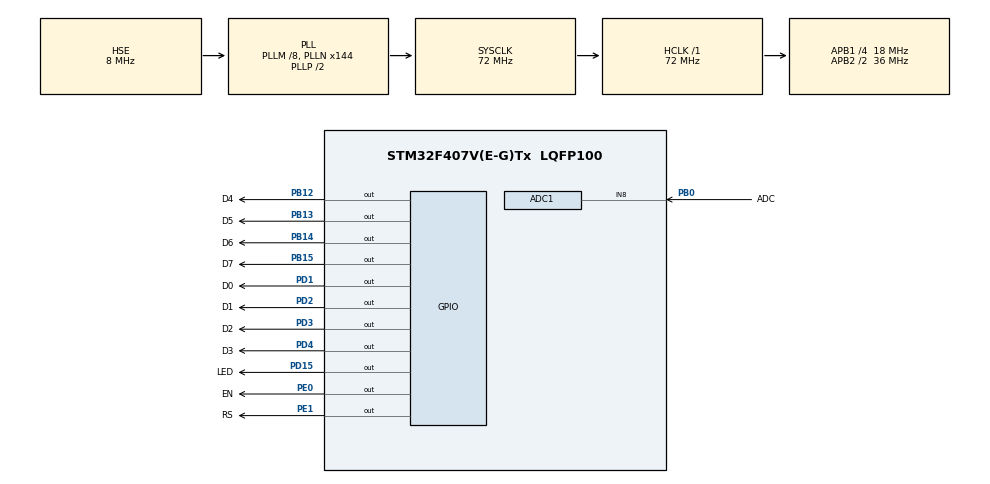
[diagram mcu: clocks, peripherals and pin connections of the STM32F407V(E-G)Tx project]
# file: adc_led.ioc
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ADC1.Channel-1\#ChannelRegularConversion=ADC_CHANNEL_8
ADC1.ContinuousConvMode=ENABLE
ADC1.NbrOfConversionFlag=1
ADC1.Rank-1\#ChannelRegularConversion=1
ADC1.SamplingTime-1\#ChannelRegularConversion=ADC_SAMPLETIME_3CYCLES
ADC1.master=1
Mcu.Family=STM32F4
Mcu.Name=STM32F407V(E-G)Tx
Mcu.Package=LQFP100
NVIC.PriorityGroup=NVIC_PRIORITYGROUP_4
PA0-WKUP.Signal=S_TIM2_CH1_ETR
PA13.Mode=Serial_Wire
PA13.Signal=SYS_JTMS-SWDIO
PA14.Mode=Serial_Wire
PA14.Signal=SYS_JTCK-SWCLK
PB0.GPIO_Label=ADC
PB0.Signal=ADCx_IN8
PB12.GPIO_Label=D4
PB12.Signal=GPIO_Output
PB13.GPIO_Label=D5
PB13.Signal=GPIO_Output
PB14.GPIO_Label=D6
PB14.Signal=GPIO_Output
PB15.GPIO_Label=D7
PB15.Signal=GPIO_Output
PD1.GPIO_Label=D0
PD1.Signal=GPIO_Output
PD15.GPIO_Label=LED
PD15.Signal=GPIO_Output
PD2.GPIO_Label=D1
PD2.Signal=GPIO_Output
PD3.GPIO_Label=D2
PD3.Signal=GPIO_Output
PD4.GPIO_Label=D3
PD4.Signal=GPIO_Output
PE0.GPIO_Label=EN
PE0.Signal=GPIO_Output
PE1.GPIO_Label=RS
PE1.Signal=GPIO_Output
PH0-OSC_IN.Mode=HSE-External-Oscillator
PH0-OSC_IN.Signal=RCC_OSC_IN
PH1-OSC_OUT.Mode=HSE-External-Oscillator
PH1-OSC_OUT.Signal=RCC_OSC_OUT
ProjectManager.HeapSize=0x200
ProjectManager.StackSize=0x400
ProjectManager.TargetToolchain=MDK-ARM V5.27
RCC.48MHZClocksFreq_Value=36000000
RCC.AHBFreq_Value=72000000
RCC.APB1CLKDivider=RCC_HCLK_DIV4
RCC.APB1Freq_Value=18000000
RCC.APB1TimFreq_Value=36000000
RCC.APB2CLKDivider=RCC_HCLK_DIV2
RCC.APB2Freq_Value=36000000
RCC.APB2TimFreq_Value=72000000
RCC.CortexFreq_Value=72000000
RCC.HCLKFreq_Value=72000000
RCC.HSE_VALUE=8000000
RCC.HSI_VALUE=16000000
RCC.LSE_VALUE=32768
RCC.PLLM=8
RCC.PLLN=144
RCC.PLLSourceVirtual=RCC_PLLSOURCE_HSE
RCC.SYSCLKFreq_VALUE=72000000
RCC.SYSCLKSource=RCC_SYSCLKSOURCE_PLLCLK
RCC.VCOOutputFreq_Value=144000000
SH.ADCx_IN8.0=ADC1_IN8,IN8
SH.S_TIM2_CH1_ETR.0=TIM2_CH1
board=custom

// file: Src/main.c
/* USER CODE BEGIN Header */
/**
  ******************************************************************************
  * @file           : main.c
  * @brief          : Main program body
  ******************************************************************************
  * @attention
  *
  * <h2><center>&copy; Copyright (c) 2020 STMicroelectronics.
  * All rights reserved.</center></h2>
  *
  * This software component is licensed by ST under BSD 3-Clause license,
  * the "License"; You may not use this file except in compliance with the
  * License. You may obtain a copy of the License at:
  *                        opensource.org/licenses/BSD-3-Clause
  *
  ******************************************************************************
  */
/* USER CODE END Header */

#include "main.h"

/* USER CODE BEGIN Includes */
#include "STM_MY_LCD16X2.h"
#include "inttypes.h"
#include "stdio.h"
/* USER CODE END Includes */

/* USER CODE BEGIN PD */
uint32_t data= 0;
char yaz[16]=" ";
/* USER CODE END PD */

ADC_HandleTypeDef hadc1;

void SystemClock_Config(void);
static void MX_GPIO_Init(void);
static void MX_ADC1_Init(void);

int main(void)
{

  /* MCU Configuration--------------------------------------------------------*/

  /* Reset of all peripherals, Initializes the Flash interface and the Systick. */
  HAL_Init();

  /* Configure the system clock */
  SystemClock_Config();

  /* Initialize all configured peripherals */
  MX_GPIO_Init();
  MX_ADC1_Init();
  /* USER CODE BEGIN 2 */
	LCD1602_Begin8BIT(RS_GPIO_Port, RS_Pin, EN_Pin, D0_GPIO_Port, D0_Pin, D1_Pin, D2_Pin, D3_Pin, D4_GPIO_Port, D4_Pin , D5_Pin, D6_Pin, D7_Pin);

	LCD1602_1stLine();
	LCD1602_print("ADC_LED");

	//HAL_ADC_Start(&hadc1);

  /* USER CODE END 2 */

  /* Infinite loop */
  while (1)
  {

    /* USER CODE BEGIN 3 */
		HAL_GPIO_WritePin(GPIOD, LED_Pin, GPIO_PIN_SET);
		HAL_Delay(200);

		HAL_ADC_Start(&hadc1);

		data=HAL_ADC_GetValue(&hadc1);
	  sprintf(yaz,"Val: %u ",data);

		LCD1602_2ndLine();
		LCD1602_print(yaz);
		HAL_GPIO_WritePin(GPIOD, LED_Pin, GPIO_PIN_RESET); //test
		HAL_Delay(200);

  }
  /* USER CODE END 3 */
}

void SystemClock_Config(void)
{
  RCC_OscInitTypeDef RCC_OscInitStruct = {0};
  RCC_ClkInitTypeDef RCC_ClkInitStruct = {0};

  /** Configure the main internal regulator output voltage
  */
  __HAL_RCC_PWR_CLK_ENABLE();
  __HAL_PWR_VOLTAGESCALING_CONFIG(PWR_REGULATOR_VOLTAGE_SCALE1);
  /** Initializes the CPU, AHB and APB busses clocks
  */
  RCC_OscInitStruct.OscillatorType = RCC_OSCILLATORTYPE_HSE;
  RCC_OscInitStruct.HSEState = RCC_HSE_ON;
  RCC_OscInitStruct.PLL.PLLState = RCC_PLL_ON;
  RCC_OscInitStruct.PLL.PLLSource = RCC_PLLSOURCE_HSE;
  RCC_OscInitStruct.PLL.PLLM = 8;
  RCC_OscInitStruct.PLL.PLLN = 144;
  RCC_OscInitStruct.PLL.PLLP = RCC_PLLP_DIV2;
  RCC_OscInitStruct.PLL.PLLQ = 4;
  if (HAL_RCC_OscConfig(&RCC_OscInitStruct) != HAL_OK)
  {
    Error_Handler();
  }
  /** Initializes the CPU, AHB and APB busses clocks
  */
  RCC_ClkInitStruct.ClockType = RCC_CLOCKTYPE_HCLK|RCC_CLOCKTYPE_SYSCLK
                              |RCC_CLOCKTYPE_PCLK1|RCC_CLOCKTYPE_PCLK2;
  RCC_ClkInitStruct.SYSCLKSource = RCC_SYSCLKSOURCE_PLLCLK;
  RCC_ClkInitStruct.AHBCLKDivider = RCC_SYSCLK_DIV1;
  RCC_ClkInitStruct.APB1CLKDivider = RCC_HCLK_DIV4;
  RCC_ClkInitStruct.APB2CLKDivider = RCC_HCLK_DIV2;

  if (HAL_RCC_ClockConfig(&RCC_ClkInitStruct, FLASH_LATENCY_2) != HAL_OK)
  {
    Error_Handler();
  }
}

static void MX_ADC1_Init(void)
{

  ADC_ChannelConfTypeDef sConfig = {0};

  /** Configure the global features of the ADC (Clock, Resolution, Data Alignment and number of conversion)
  */
  hadc1.Instance = ADC1;
  hadc1.Init.ClockPrescaler = ADC_CLOCK_SYNC_PCLK_DIV2;
  hadc1.Init.Resolution = ADC_RESOLUTION_12B;
  hadc1.Init.ScanConvMode = DISABLE;
  hadc1.Init.ContinuousConvMode = ENABLE;
  hadc1.Init.DiscontinuousConvMode = DISABLE;
  hadc1.Init.ExternalTrigConvEdge = ADC_EXTERNALTRIGCONVEDGE_NONE;
  hadc1.Init.ExternalTrigConv = ADC_SOFTWARE_START;
  hadc1.Init.DataAlign = ADC_DATAALIGN_RIGHT;
  hadc1.Init.NbrOfConversion = 1;
  hadc1.Init.DMAContinuousRequests = DISABLE;
  hadc1.Init.EOCSelection = ADC_EOC_SINGLE_CONV;
  if (HAL_ADC_Init(&hadc1) != HAL_OK)
  {
    Error_Handler();
  }
  /** Configure for the selected ADC regular channel its corresponding rank in the sequencer and its sample time.
  */
  sConfig.Channel = ADC_CHANNEL_8;
  sConfig.Rank = 1;
  sConfig.SamplingTime = ADC_SAMPLETIME_3CYCLES;
  if (HAL_ADC_ConfigChannel(&hadc1, &sConfig) != HAL_OK)
  {
    Error_Handler();
  }

}

static void MX_GPIO_Init(void)
{
  GPIO_InitTypeDef GPIO_InitStruct = {0};

  /* GPIO Ports Clock Enable */
  __HAL_RCC_GPIOH_CLK_ENABLE();
  __HAL_RCC_GPIOA_CLK_ENABLE();
  __HAL_RCC_GPIOB_CLK_ENABLE();
  __HAL_RCC_GPIOD_CLK_ENABLE();
  __HAL_RCC_GPIOE_CLK_ENABLE();

  /*Configure GPIO pin Output Level */
  HAL_GPIO_WritePin(GPIOB, D4_Pin|D5_Pin|D6_Pin|D7_Pin, GPIO_PIN_RESET);

  /*Configure GPIO pin Output Level */
  HAL_GPIO_WritePin(GPIOD, LED_Pin|D0_Pin|D1_Pin|D2_Pin
                          |D3_Pin, GPIO_PIN_RESET);

  /*Configure GPIO pin Output Level */
  HAL_GPIO_WritePin(GPIOE, EN_Pin|RS_Pin, GPIO_PIN_RESET);

  /*Configure GPIO pin : PA0 */
  GPIO_InitStruct.Pin = GPIO_PIN_0;
  GPIO_InitStruct.Mode = GPIO_MODE_AF_PP;
  GPIO_InitStruct.Pull = GPIO_NOPULL;
  GPIO_InitStruct.Speed = GPIO_SPEED_FREQ_LOW;
  GPIO_InitStruct.Alternate = GPIO_AF1_TIM2;
  HAL_GPIO_Init(GPIOA, &GPIO_InitStruct);

  /*Configure GPIO pins : D4_Pin D5_Pin D6_Pin D7_Pin */
  GPIO_InitStruct.Pin = D4_Pin|D5_Pin|D6_Pin|D7_Pin;
  GPIO_InitStruct.Mode = GPIO_MODE_OUTPUT_PP;
  GPIO_InitStruct.Pull = GPIO_NOPULL;
  GPIO_InitStruct.Speed = GPIO_SPEED_FREQ_LOW;
  HAL_GPIO_Init(GPIOB, &GPIO_InitStruct);

  /*Configure GPIO pins : LED_Pin D0_Pin D1_Pin D2_Pin
                           D3_Pin */
  GPIO_InitStruct.Pin = LED_Pin|D0_Pin|D1_Pin|D2_Pin
                          |D3_Pin;
  GPIO_InitStruct.Mode = GPIO_MODE_OUTPUT_PP;
  GPIO_InitStruct.Pull = GPIO_NOPULL;
  GPIO_InitStruct.Speed = GPIO_SPEED_FREQ_LOW;
  HAL_GPIO_Init(GPIOD, &GPIO_InitStruct);

  /*Configure GPIO pins : EN_Pin RS_Pin */
  GPIO_InitStruct.Pin = EN_Pin|RS_Pin;
  GPIO_InitStruct.Mode = GPIO_MODE_OUTPUT_PP;
  GPIO_InitStruct.Pull = GPIO_NOPULL;
  GPIO_InitStruct.Speed = GPIO_SPEED_FREQ_LOW;
  HAL_GPIO_Init(GPIOE, &GPIO_InitStruct);

}

void Error_Handler(void)
{
}

/************************ (C) COPYRIGHT STMicroelectronics *****END OF FILE****/
